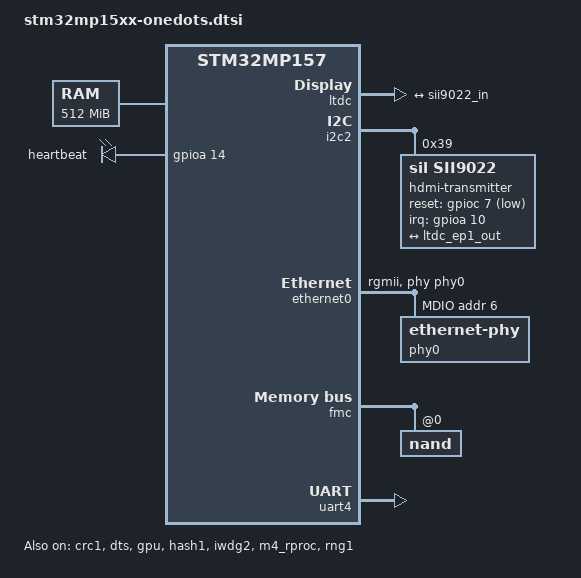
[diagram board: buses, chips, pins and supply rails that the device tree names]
// SPDX-License-Identifier: (GPL-2.0+ OR BSD-3-Clause)
/*
 * Copyright (C) STMicroelectronics 2019 - All Rights Reserved
 * Author: Alexandre Torgue <alexandre.torgue@st.com> for STMicroelectronics.
 */

#include "stm32mp157-m4-srm.dtsi"
#include "stm32mp157-m4-srm-pinctrl.dtsi"
#include <dt-bindings/mfd/st,stpmic1.h>

/ {
	memory@c0000000 {
		device_type = "memory";
		reg = <0xc0000000 0x20000000>;
	};

	reserved-memory {
		#address-cells = <1>;
		#size-cells = <1>;
		ranges;

		mcuram2: mcuram2@10000000 {
			compatible = "shared-dma-pool";
			reg = <0x10000000 0x40000>;
			no-map;
		};

		vdev0vring0: vdev0vring0@10040000 {
			compatible = "shared-dma-pool";
			reg = <0x10040000 0x1000>;
			no-map;
		};

		vdev0vring1: vdev0vring1@10041000 {
			compatible = "shared-dma-pool";
			reg = <0x10041000 0x1000>;
			no-map;
		};

		vdev0buffer: vdev0buffer@10042000 {
			compatible = "shared-dma-pool";
			reg = <0x10042000 0x4000>;
			no-map;
		};

		mcuram: mcuram@30000000 {
			compatible = "shared-dma-pool";
			reg = <0x30000000 0x40000>;
			no-map;
		};

		retram: retram@38000000 {
			compatible = "shared-dma-pool";
			reg = <0x38000000 0x10000>;
			no-map;
		};
	};

	led {
		compatible = "gpio-leds";
		blue {
			label = "heartbeat";
			gpios = <&gpioa 14 GPIO_ACTIVE_HIGH>;
			linux,default-trigger = "heartbeat";
			default-state = "off";
		};
	};

};

&optee {
	status = "disable";
};

&cpu0{
	cpu-supply = <&vddcore>;
};

&cpu1{
	cpu-supply = <&vddcore>;
};

&crc1 {
	status = "okay";
};

&dma1 {
	sram = <&dma_pool>;
};

&dma2 {
	sram = <&dma_pool>;
};

&dts {
	status = "okay";
};

/* test HDMI*/
&ltdc {
    status = "okay";
    port {
            #address-cells = <1>;
            #size-cells = <0>;

            ltdc_ep1_out: endpoint@1 {
                          reg = <1>;
                          remote-endpoint = <&sii9022_in>;
                         };
        };
};


&i2c2 {
        hdmi-transmitter@39 {
                compatible = "sil,sii9022";
                reg = <0x39>;
                reset-gpios = <&gpioc 7 GPIO_ACTIVE_LOW>;
                interrupts = <10 IRQ_TYPE_EDGE_FALLING>;
                interrupt-parent = <&gpioa>;
                pinctrl-names = "default", "sleep";
                pinctrl-0 = <&ltdc_pins_a>;
                pinctrl-1 = <&ltdc_pins_sleep_a>;
                status = "okay";

                ports {
                        #address-cells = <1>;
                        #size-cells = <0>;

                        port@0 {
                                reg = <0>;
                                sii9022_in: endpoint {
                                        remote-endpoint = <&ltdc_ep1_out>;
                                };
                        };

                };
        };
};




&ethernet0 {
        status = "okay";
        pinctrl-0 = <&ethernet0_rgmii_pins_a>;
        pinctrl-1 = <&ethernet0_rgmii_pins_sleep_a>;
        pinctrl-names = "default", "sleep";
        phy-mode = "rgmii";
        max-speed = <1000>;
        phy-handle = <&phy0>;

        mdio0 {
                #address-cells = <1>;
                #size-cells = <0>;
                compatible = "snps,dwmac-mdio";
                phy0: ethernet-phy@6 {
                        reg = <6>;
                };
        };
};


&gpu {
	contiguous-area = <&gpu_reserved>;
	status = "okay";
};

&hash1 {
	status = "okay";
};


&ipcc {
	status = "okay";
};

&iwdg2 {
	timeout-sec = <32>;
	status = "okay";
};


&m4_rproc {
	memory-region = <&retram>, <&mcuram>, <&mcuram2>, <&vdev0vring0>,
			<&vdev0vring1>, <&vdev0buffer>;
	mboxes = <&ipcc 0>, <&ipcc 1>, <&ipcc 2>;
	mbox-names = "vq0", "vq1", "shutdown";
	interrupt-parent = <&exti>;
	interrupts = <68 1>;
	wakeup-source;
	status = "okay";
};

&rng1 {
	status = "okay";
};

&rtc {
	status = "disable";
};


&fmc {
        pinctrl-names = "default", "sleep";
        pinctrl-0 = <&fmc_pins_a>;
        pinctrl-1 = <&fmc_sleep_pins_a>;
        status = "okay";
        #address-cells = <1>;
        #size-cells = <0>;

        nand: nand@0 {
                reg = <0>;
                nand-on-flash-bbt;
                #address-cells = <1>;
                #size-cells = <1>;
                nand-ecc-strength = <4>;
                nand-ecc-step-size = <512>;
        };
};


&sram {
	dma_pool: dma_pool@0 {
		reg = <0x50000 0x10000>;
		pool;
	};
};


&uart4 {
	pinctrl-names = "default", "sleep", "idle";
	pinctrl-0 = <&uart4_pins_a>;
	pinctrl-1 = <&uart4_sleep_pins_a>;
	pinctrl-2 = <&uart4_idle_pins_a>;
	pinctrl-3 = <&uart4_pins_a>;
	/delete-property/dmas;
	/delete-property/dma-names;
	status = "okay";
};

/*
&uart7 {
	pinctrl-names = "default", "sleep", "idle";
	pinctrl-0 = <&uart7_pins_b>;
	pinctrl-1 = <&uart7_sleep_pins_b>;
	pinctrl-2 = <&uart7_idle_pins_b>;
	/delete-property/dmas;
	/delete-property/dma-names;
	status = "disabled";
};
*/
&usart3 {
	pinctrl-names = "default", "sleep", "idle";
	pinctrl-0 = <&usart3_pins_b>;
	pinctrl-1 = <&usart3_sleep_pins_b>;
	pinctrl-2 = <&usart3_idle_pins_b>;
	uart-has-rtscts;
	status = "disabled";
};





